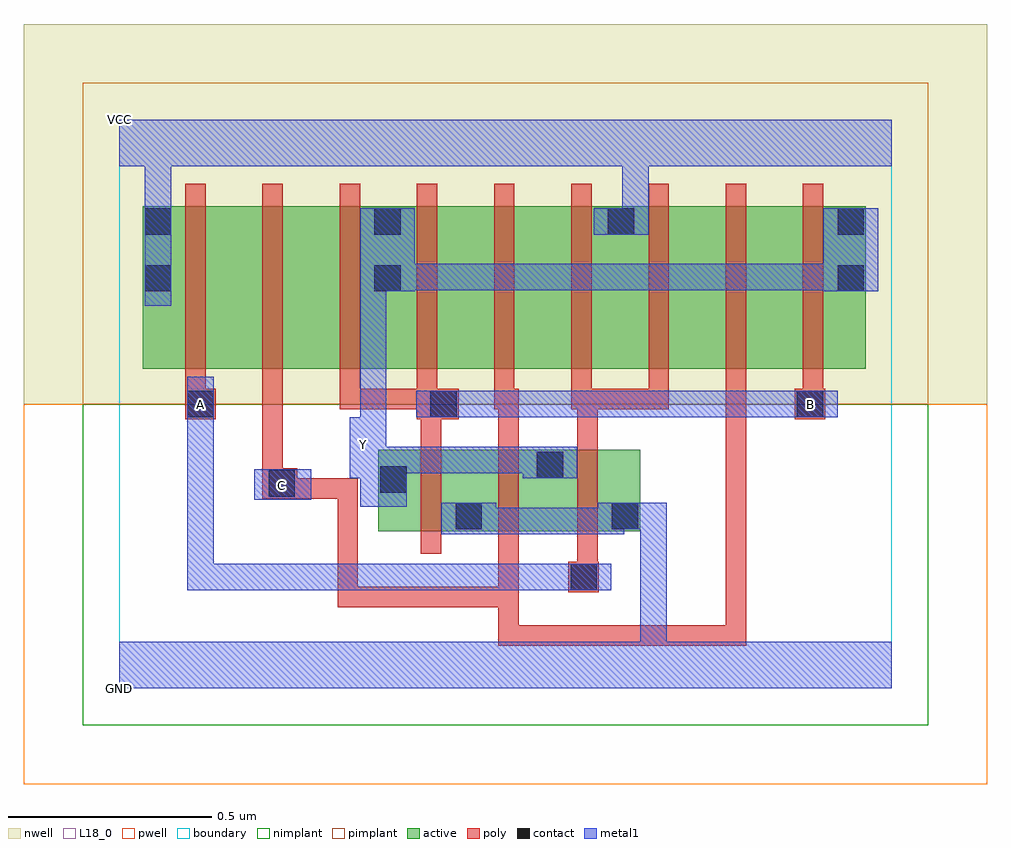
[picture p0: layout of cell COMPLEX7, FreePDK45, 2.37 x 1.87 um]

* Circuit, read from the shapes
.subckt COMPLEX7 A B C GND VCC Y
M1 GND B Y VSUBS nfet w=0.2u l=0.05u
M2 Y C GND VSUBS nfet w=0.2u l=0.05u
M3 GND A Y VSUBS nfet w=0.2u l=0.05u
M4 n1 A VCC n2 pfet w=0.4u l=0.05u
M5 n3 C n1 n2 pfet w=0.4u l=0.05u
M6 Y B n3 n2 pfet w=0.4u l=0.05u
M7 n4 B Y n2 pfet w=0.4u l=0.05u
M8 n5 C n4 n2 pfet w=0.4u l=0.05u
M9 VCC A n5 n2 pfet w=0.4u l=0.05u
M10 n6 A VCC n2 pfet w=0.4u l=0.05u
M11 n7 C n6 n2 pfet w=0.4u l=0.05u
M12 Y B n7 n2 pfet w=0.4u l=0.05u
.ends

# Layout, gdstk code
import gdstk
lib = gdstk.Library(unit=1e-6, precision=1e-09)
def R(c, l, rs):  # rectangles x0, y0, x1, y1
    for r in rs: c.add(gdstk.rectangle(r[:2], r[2:], *l))
def A(c, l, x, y, w, h, nx, ny, dx, dy):  # array of equal rectangles
    R(c, l, [(x+i*dx, y+j*dy, x+i*dx+w, y+j*dy+h) for i in range(nx) for j in range(ny)])
active = (1, 0)
pwell = (2, 0)
nwell = (3, 0)
nimplant = (4, 0)
pimplant = (5, 0)
poly = (9, 0)
contact = (10, 0)
metal1 = (11, 0)
L18_0 = (18, 0)
boundary = (235, 0)

complex7 = lib.new_cell('COMPLEX7')
A(complex7, active, 0.282, 0.787, 0.19, 0.4, 3, 1, 0.57, 0)
R(complex7, active, [(0.637,0.387,0.897,0.587), (0.822,0.387,0.897,0.587), (0.822,0.387,1.097,0.587), (1.022,0.387,1.282,0.587), (1.207,0.387,1.282,0.587), (0.637,0.445,0.712,0.587), (1.022,0.445,1.097,0.587), (0.057,0.787,0.132,1.187), (0.057,0.787,0.282,1.187), (0.472,0.787,0.697,1.187), (0.622,0.787,0.852,1.187), (1.042,0.787,1.272,1.187), (1.197,0.787,1.422,1.187), (1.612,0.787,1.837,1.187), (1.762,0.787,1.837,1.187), (1.197,0.85,1.272,1.187), (0.622,0.907,0.697,1.187)])
R(complex7, pwell, [(-0.235,-0.235,2.135,0.7)])
R(complex7, nwell, [(-0.235,0.7,2.135,1.635)])
R(complex7, nimplant, [(-0.09,-0.09,1.99,0.7)])
R(complex7, pimplant, [(-0.09,0.7,1.99,1.49)])
A(complex7, poly, 0.542, 0.687, 0.05, 0.095, 5, 1, 0.19, 0)
A(complex7, poly, 0.162, 0.732, 0.05, 0.51, 9, 1, 0.19, 0)
R(complex7, poly, [(0.932,0.105,0.982,0.155), (0.932,0.105,0.982,0.25), (0.932,0.105,1.115,0.155), (1.065,0.105,1.115,0.155), (1.065,0.105,1.115,0.155), (1.065,0.105,1.115,0.155), (1.065,0.105,1.312,0.155), (1.262,0.105,1.312,0.155), (1.262,0.105,1.312,0.155), (1.262,0.105,1.312,0.155), (1.262,0.105,1.312,0.155), (1.262,0.105,1.312,0.155), (1.262,0.105,1.312,0.155), (1.262,0.105,1.312,0.155), (1.262,0.105,1.542,0.155), (1.492,0.105,1.542,0.782), (1.492,0.105,1.542,0.155), (1.492,0.105,1.542,0.155), (1.492,0.105,1.542,0.155), (1.492,0.105,1.542,0.155), (1.492,0.105,1.542,0.155), (1.492,0.105,1.542,0.155), (1.492,0.105,1.542,0.155), (0.537,0.2,0.587,0.25), (0.537,0.2,0.725,0.25), (0.537,0.2,0.587,0.517), (0.675,0.2,0.725,0.25), (0.675,0.2,0.725,0.25), (0.675,0.2,0.725,0.25), (0.675,0.2,0.982,0.25), (0.932,0.2,0.982,0.25), (0.932,0.2,0.982,0.25), (0.932,0.2,0.982,0.25), (0.932,0.2,0.982,0.382), (1.105,0.237,1.18,0.312), (1.127,0.262,1.177,0.382), (0.742,0.332,0.792,0.642), (0.932,0.332,0.982,0.642), (1.127,0.332,1.177,0.642), (0.352,0.467,0.437,0.542), (0.387,0.467,0.437,0.517), (0.387,0.467,0.437,0.517), (0.387,0.467,0.437,0.517), (0.387,0.467,0.437,0.517), (0.387,0.467,0.437,0.517), (0.387,0.467,0.437,0.517), (0.387,0.467,0.587,0.517), (0.537,0.467,0.587,0.517), (0.352,0.492,0.402,0.782), (0.742,0.592,0.792,0.712), (0.932,0.592,0.982,0.737), (1.127,0.592,1.177,0.737), (0.162,0.662,0.237,0.737), (0.732,0.662,0.835,0.737), (1.662,0.662,1.737,0.737), (0.162,0.687,0.212,0.782), (0.542,0.687,0.592,0.737), (0.542,0.687,0.782,0.737), (0.732,0.687,0.782,0.737), (0.732,0.687,0.782,0.737), (0.922,0.687,0.982,0.737), (1.112,0.687,1.177,0.737), (1.127,0.687,1.352,0.737), (1.302,0.687,1.352,0.737), (1.302,0.687,1.352,0.737), (1.302,0.687,1.352,0.737), (1.682,0.687,1.732,0.782)])
R(complex7, contact, [(1.11,0.242,1.175,0.307), (0.827,0.392,0.892,0.457), (1.212,0.392,1.277,0.457), (0.367,0.472,0.432,0.537), (0.642,0.482,0.707,0.547), (1.027,0.517,1.092,0.582), (0.167,0.667,0.232,0.732), (0.765,0.667,0.83,0.732), (1.667,0.667,1.732,0.732), (0.062,0.977,0.127,1.042), (0.627,0.977,0.692,1.042), (1.767,0.977,1.832,1.042), (0.062,1.117,0.127,1.182), (0.627,1.117,0.692,1.182), (1.202,1.117,1.267,1.182), (1.767,1.117,1.832,1.182)])
R(complex7, metal1, [(0,0,1.9,0.115), (1.282,0.05,1.347,0.457), (0.167,0.242,0.232,0.307), (0.167,0.242,0.37,0.307), (0.167,0.242,0.232,0.697), (0.305,0.242,0.37,0.307), (0.305,0.242,0.37,0.307), (0.305,0.242,0.37,0.307), (0.305,0.242,0.37,0.307), (0.305,0.242,0.37,0.307), (0.305,0.242,0.507,0.307), (0.442,0.242,0.507,0.307), (0.442,0.242,0.72,0.307), (0.655,0.242,0.72,0.307), (0.655,0.242,0.72,0.307), (0.655,0.242,0.72,0.307), (0.655,0.242,0.72,0.307), (0.655,0.242,0.72,0.307), (0.655,0.242,0.865,0.307), (0.8,0.242,0.865,0.307), (0.8,0.242,1.002,0.307), (0.937,0.242,1.002,0.307), (0.937,0.242,1.095,0.307), (1.03,0.242,1.095,0.307), (1.03,0.242,1.14,0.307), (1.075,0.242,1.21,0.307), (0.792,0.38,0.927,0.457), (0.862,0.38,1.002,0.445), (0.937,0.38,1.002,0.445), (0.937,0.38,1.095,0.445), (1.03,0.38,1.095,0.445), (1.03,0.38,1.242,0.445), (1.177,0.38,1.242,0.457), (1.177,0.392,1.242,0.457), (1.177,0.392,1.347,0.457), (1.282,0.392,1.347,0.457), (1.282,0.392,1.347,0.457), (1.282,0.392,1.347,0.457), (1.282,0.392,1.347,0.457), (1.282,0.392,1.347,0.457), (1.282,0.392,1.347,0.457), (0.592,0.447,0.707,0.582), (0.332,0.465,0.472,0.54), (0.567,0.517,0.657,0.667), (0.592,0.517,0.657,0.582), (0.642,0.517,0.707,0.582), (0.642,0.517,0.707,0.595), (0.992,0.517,1.127,0.595), (0.642,0.53,0.92,0.595), (0.855,0.53,0.92,0.595), (0.855,0.53,1.002,0.595), (0.937,0.53,1.002,0.595), (0.937,0.53,1.057,0.595), (0.592,0.602,0.657,1.042), (0.167,0.632,0.232,0.697), (0.167,0.632,0.232,0.697), (0.167,0.632,0.232,0.767), (0.73,0.667,0.865,0.732), (0.8,0.667,0.865,0.732), (0.8,0.667,0.865,0.732), (0.8,0.667,1.002,0.732), (0.937,0.667,1.002,0.732), (0.937,0.667,1.065,0.732), (1,0.667,1.065,0.732), (1,0.667,1.232,0.732), (1.167,0.667,1.232,0.732), (1.167,0.667,1.232,0.732), (1.167,0.667,1.232,0.732), (1.167,0.667,1.38,0.732), (1.315,0.667,1.38,0.732), (1.315,0.667,1.38,0.732), (1.315,0.667,1.38,0.732), (1.315,0.667,1.56,0.732), (1.495,0.667,1.56,0.732), (1.495,0.667,1.56,0.732), (1.495,0.667,1.56,0.732), (1.495,0.667,1.697,0.732), (1.632,0.667,1.767,0.732), (0.062,0.942,0.127,1.217), (0.592,0.977,0.727,1.182), (1.732,0.977,1.867,1.182), (0.662,0.98,0.727,1.045), (0.662,0.98,0.727,1.045), (0.662,0.98,0.92,1.045), (0.855,0.98,0.92,1.045), (0.855,0.98,1.002,1.045), (0.937,0.98,1.002,1.045), (0.937,0.98,1.095,1.045), (1.03,0.98,1.095,1.045), (1.03,0.98,1.232,1.045), (1.167,0.98,1.232,1.045), (1.167,0.98,1.232,1.045), (1.167,0.98,1.232,1.045), (1.167,0.98,1.422,1.045), (1.357,0.98,1.422,1.045), (1.357,0.98,1.422,1.045), (1.357,0.98,1.422,1.045), (1.357,0.98,1.56,1.045), (1.495,0.98,1.56,1.045), (1.495,0.98,1.56,1.045), (1.495,0.98,1.56,1.045), (1.495,0.98,1.797,1.045), (1.732,0.98,1.797,1.045), (1.732,0.98,1.797,1.045), (1.167,1.117,1.302,1.182), (1.237,1.117,1.302,1.35), (0.062,1.152,0.127,1.35), (0,1.285,1.9,1.4)])
R(complex7, L18_0, [(0,0,1.9,0.115), (1.282,0.05,1.347,0.457), (0.167,0.242,0.232,0.307), (0.167,0.242,0.232,0.697), (0.167,0.242,0.37,0.307), (0.305,0.242,0.37,0.307), (0.305,0.242,0.37,0.307), (0.305,0.242,0.37,0.307), (0.305,0.242,0.37,0.307), (0.305,0.242,0.37,0.307), (0.305,0.242,0.507,0.307), (0.442,0.242,0.507,0.307), (0.442,0.242,0.72,0.307), (0.655,0.242,0.72,0.307), (0.655,0.242,0.72,0.307), (0.655,0.242,0.72,0.307), (0.655,0.242,0.72,0.307), (0.655,0.242,0.72,0.307), (0.655,0.242,0.865,0.307), (0.8,0.242,0.865,0.307), (0.8,0.242,1.002,0.307), (0.937,0.242,1.002,0.307), (0.937,0.242,1.095,0.307), (1.03,0.242,1.095,0.307), (1.03,0.242,1.14,0.307), (1.075,0.242,1.21,0.307), (0.792,0.38,0.927,0.457), (0.862,0.38,1.002,0.445), (0.937,0.38,1.002,0.445), (0.937,0.38,1.095,0.445), (1.03,0.38,1.095,0.445), (1.03,0.38,1.242,0.445), (1.177,0.38,1.242,0.457), (1.177,0.392,1.242,0.457), (1.177,0.392,1.347,0.457), (1.282,0.392,1.347,0.457), (1.282,0.392,1.347,0.457), (1.282,0.392,1.347,0.457), (1.282,0.392,1.347,0.457), (1.282,0.392,1.347,0.457), (1.282,0.392,1.347,0.457), (0.592,0.447,0.707,0.582), (0.332,0.465,0.472,0.54), (0.367,0.467,0.432,0.532), (0.567,0.517,0.657,0.667), (0.592,0.517,0.657,0.582), (0.642,0.517,0.707,0.582), (0.642,0.517,0.707,0.595), (0.992,0.517,1.127,0.595), (0.642,0.53,0.92,0.595), (0.855,0.53,0.92,0.595), (0.855,0.53,1.002,0.595), (0.937,0.53,1.002,0.595), (0.937,0.53,1.057,0.595), (0.567,0.567,0.632,0.632), (0.592,0.602,0.657,1.042), (0.167,0.632,0.232,0.767), (0.167,0.632,0.232,0.697), (0.167,0.632,0.232,0.697), (0.167,0.667,0.232,0.732), (0.73,0.667,0.865,0.732), (0.8,0.667,0.865,0.732), (0.8,0.667,0.865,0.732), (0.8,0.667,1.002,0.732), (0.937,0.667,1.002,0.732), (0.937,0.667,1.065,0.732), (1,0.667,1.065,0.732), (1,0.667,1.232,0.732), (1.167,0.667,1.232,0.732), (1.167,0.667,1.232,0.732), (1.167,0.667,1.232,0.732), (1.167,0.667,1.38,0.732), (1.315,0.667,1.38,0.732), (1.315,0.667,1.38,0.732), (1.315,0.667,1.38,0.732), (1.315,0.667,1.56,0.732), (1.495,0.667,1.56,0.732), (1.495,0.667,1.56,0.732), (1.495,0.667,1.56,0.732), (1.495,0.667,1.697,0.732), (1.632,0.667,1.767,0.732), (1.667,0.667,1.732,0.732), (0.062,0.942,0.127,1.217), (0.592,0.977,0.727,1.182), (1.732,0.977,1.867,1.182), (0.662,0.98,0.727,1.045), (0.662,0.98,0.727,1.045), (0.662,0.98,0.92,1.045), (0.855,0.98,0.92,1.045), (0.855,0.98,1.002,1.045), (0.937,0.98,1.002,1.045), (0.937,0.98,1.095,1.045), (1.03,0.98,1.095,1.045), (1.03,0.98,1.232,1.045), (1.167,0.98,1.232,1.045), (1.167,0.98,1.232,1.045), (1.167,0.98,1.232,1.045), (1.167,0.98,1.422,1.045), (1.357,0.98,1.422,1.045), (1.357,0.98,1.422,1.045), (1.357,0.98,1.422,1.045), (1.357,0.98,1.56,1.045), (1.495,0.98,1.56,1.045), (1.495,0.98,1.56,1.045), (1.495,0.98,1.56,1.045), (1.495,0.98,1.797,1.045), (1.732,0.98,1.797,1.045), (1.732,0.98,1.797,1.045), (1.167,1.117,1.302,1.182), (1.237,1.117,1.302,1.35), (0.062,1.152,0.127,1.35), (0,1.285,1.9,1.4)])
R(complex7, boundary, [(0,0,1.9,1.4)])
complex7.add(gdstk.Label('A', (0.2,0.7), layer=11, texttype=0))
complex7.add(gdstk.Label('B', (1.7,0.7), layer=11, texttype=0))
complex7.add(gdstk.Label('C', (0.4,0.5), layer=11, texttype=0))
complex7.add(gdstk.Label('Y', (0.6,0.6), layer=11, texttype=0))
complex7.add(gdstk.Label('VCC', (0,1.4), layer=11, texttype=0))
complex7.add(gdstk.Label('GND', (0,0), layer=11, texttype=0))

lib.write_gds('COMPLEX7.gds')
